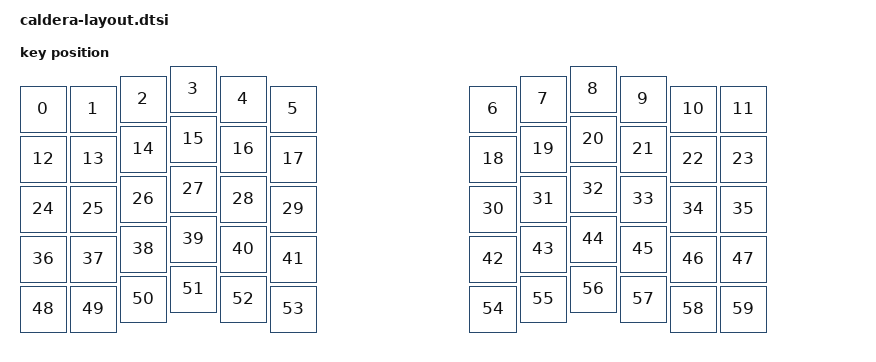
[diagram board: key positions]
#include <physical_layouts.dtsi>
#include <dt-bindings/zmk/matrix_transform.h>

/ {
    caldera_layout: caldera_layout {
        compatible = "zmk,physical-layout";
        display-name = "Default";


        kscan = <&kscan0>;
        transform = <&default_transform>;

        keys  //                     w   h    x    y     rot    rx    ry
            = <&key_physical_attrs 100 100    0   40       0     0     0>
            , <&key_physical_attrs 100 100  100   40       0     0     0>
            , <&key_physical_attrs 100 100  200   20       0     0     0>
            , <&key_physical_attrs 100 100  300    0       0     0     0>
            , <&key_physical_attrs 100 100  400   20       0     0     0>
            , <&key_physical_attrs 100 100  500   40       0     0     0>
            , <&key_physical_attrs 100 100  900   40       0     0     0>
            , <&key_physical_attrs 100 100 1000   20       0     0     0>
            , <&key_physical_attrs 100 100 1100    0       0     0     0>
            , <&key_physical_attrs 100 100 1200   20       0     0     0>
            , <&key_physical_attrs 100 100 1300   40       0     0     0>
            , <&key_physical_attrs 100 100 1400   40       0     0     0>
            , <&key_physical_attrs 100 100    0  140       0     0     0>
            , <&key_physical_attrs 100 100  100  140       0     0     0>
            , <&key_physical_attrs 100 100  200  120       0     0     0>
            , <&key_physical_attrs 100 100  300  100       0     0     0>
            , <&key_physical_attrs 100 100  400  120       0     0     0>
            , <&key_physical_attrs 100 100  500  140       0     0     0>
            , <&key_physical_attrs 100 100  900  140       0     0     0>
            , <&key_physical_attrs 100 100 1000  120       0     0     0>
            , <&key_physical_attrs 100 100 1100  100       0     0     0>
            , <&key_physical_attrs 100 100 1200  120       0     0     0>
            , <&key_physical_attrs 100 100 1300  140       0     0     0>
            , <&key_physical_attrs 100 100 1400  140       0     0     0>
            , <&key_physical_attrs 100 100    0  240       0     0     0>
            , <&key_physical_attrs 100 100  100  240       0     0     0>
            , <&key_physical_attrs 100 100  200  220       0     0     0>
            , <&key_physical_attrs 100 100  300  200       0     0     0>
            , <&key_physical_attrs 100 100  400  220       0     0     0>
            , <&key_physical_attrs 100 100  500  240       0     0     0>
            , <&key_physical_attrs 100 100  900  240       0     0     0>
            , <&key_physical_attrs 100 100 1000  220       0     0     0>
            , <&key_physical_attrs 100 100 1100  200       0     0     0>
            , <&key_physical_attrs 100 100 1200  220       0     0     0>
            , <&key_physical_attrs 100 100 1300  240       0     0     0>
            , <&key_physical_attrs 100 100 1400  240       0     0     0>
            , <&key_physical_attrs 100 100    0  340       0     0     0>
            , <&key_physical_attrs 100 100  100  340       0     0     0>
            , <&key_physical_attrs 100 100  200  320       0     0     0>
            , <&key_physical_attrs 100 100  300  300       0     0     0>
            , <&key_physical_attrs 100 100  400  320       0     0     0>
            , <&key_physical_attrs 100 100  500  340       0     0     0>
            , <&key_physical_attrs 100 100  900  340       0     0     0>
            , <&key_physical_attrs 100 100 1000  320       0     0     0>
            , <&key_physical_attrs 100 100 1100  300       0     0     0>
            , <&key_physical_attrs 100 100 1200  320       0     0     0>
            , <&key_physical_attrs 100 100 1300  340       0     0     0>
            , <&key_physical_attrs 100 100 1400  340       0     0     0>
            , <&key_physical_attrs 100 100    0  440       0     0     0>
            , <&key_physical_attrs 100 100  100  440       0     0     0>
            , <&key_physical_attrs 100 100  200  420       0     0     0>
            , <&key_physical_attrs 100 100  300  400       0     0     0>
            , <&key_physical_attrs 100 100  400  420       0     0     0>
            , <&key_physical_attrs 100 100  500  440       0     0     0>
            , <&key_physical_attrs 100 100  900  440       0     0     0>
            , <&key_physical_attrs 100 100 1000  420       0     0     0>
            , <&key_physical_attrs 100 100 1100  400       0     0     0>
            , <&key_physical_attrs 100 100 1200  420       0     0     0>
            , <&key_physical_attrs 100 100 1300  440       0     0     0>
            , <&key_physical_attrs 100 100 1400  440       0     0     0>
            ;
    };
    position_map {
        compatible = "zmk,physical-layout-position-map";

        caldera_layout {
            physical-layout = <&caldera_layout>;
            positions
            = < 0  1  2  3  4  5  6  7  8  9 10 11>
            , <12 13 14 15 16 17 18 19 20 21 22 23>
            , <24 25 26 27 28 29 30 31 32 33 34 35>
            , <36 37 38 39 40 41 42 43 44 45 46 47>;
        };
    };
};
